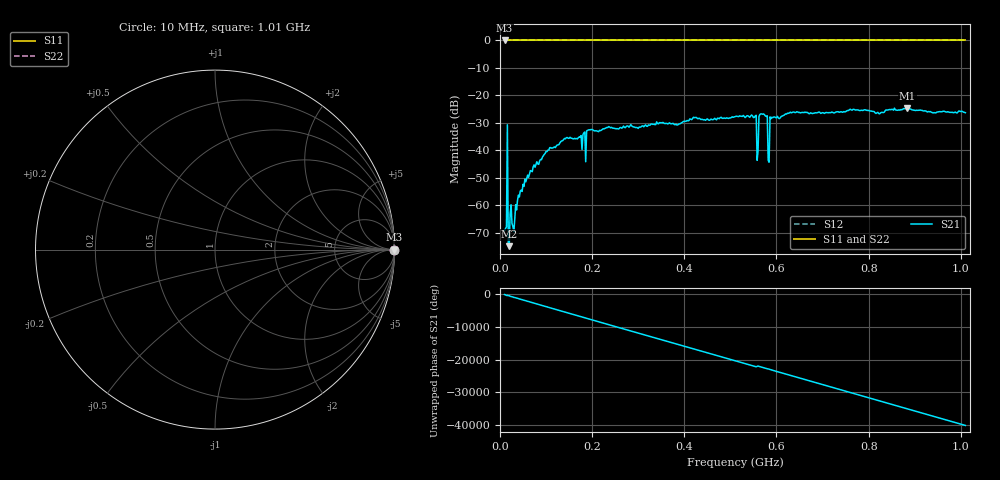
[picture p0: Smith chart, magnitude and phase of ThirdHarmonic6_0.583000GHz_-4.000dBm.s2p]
! 8/15/2025 6:50:36 PM
! C:\ANRITSUVNA\TEMP\TEMP.S2P
! CHANNEL.1
! TR.MEASUREMENT
! RAW.DATA
! RF.CORRECTION.OFF
! AVERAGING.OFF
! IF.BANDWIDTH: 5KHZ
! SWEEPTYPE:  FREQ.SWEEP(Linear)
! Reference Plane Port Info
! PORT:  PORT1  PORT2
! DISTANCE:  0  m  0  m
! TIME:  0  s  0  s
! PHASE.OFFSET:  0  deg.  0  deg.
! LOSS:  0  dB  0  dB
! REF.LOSS:  0  dB  0  dB
! REF.FREQ:  0  Hz  0  Hz
! Power Info
! POWER:  -20  dBm  -20  dBm
! EFF.POWER:  -20  dBm  -20  dBm
! SOURCE.ATTEN:  0  dB  0  dB
! TEST.ATTEN:  0  dB  0  dB
# GHZ S RI R 50.0
! FREQ.GHZ  S11RE  S11IM  S21RE  S21IM  S12RE  S12IM  S22RE  S22IM
!; PortSelection: Port_12
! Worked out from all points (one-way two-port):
!   501 points, 10 MHz to 1.01 GHz, reference 50 ohm
!   highest |S21| = -24.59 dB at 884 MHz (marker M1); lowest = -74.8 dB at 20 MHz (marker M2)
!   lowest |S11| = 0.0 dB at 10 MHz (marker M3)
!   |S11| at or under -10 dB: nowhere
!   |S22| runs from 0.0 to 0.0 dB; largest |S21 - S12| = 1.1
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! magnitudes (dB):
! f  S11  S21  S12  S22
! 10 MHz  0.0  -69.1  0.0  0.0
! 12 MHz  0.0  -68.4  0.0  0.0
! 20 MHz  0.0  -74.8  0.0  0.0
! 22 MHz  0.0  -63.0  0.0  0.0
! 42 MHz  0.0  -56.9  0.0  0.0
! 76 MHz  0.0  -46.1  0.0  0.0
! 142 MHz  0.0  -35.8  0.0  0.0
! 178 MHz  0.0  -39.7  0.0  0.0
! 344 MHz  0.0  -30.3  0.0  0.0
! 510 MHz  0.0  -27.7  0.0  0.0
! 552 MHz  0.0  -28.0  0.0  0.0
! 556 MHz  0.0  -27.2  0.0  0.0
! 562 MHz  0.0  -27.7  0.0  0.0
! 566 MHz  0.0  -26.7  0.0  0.0
! 576 MHz  0.0  -27.4  0.0  0.0
! 580 MHz  0.0  -27.4  0.0  0.0
! 586 MHz  0.0  -27.8  0.0  0.0
! 590 MHz  0.0  -27.9  0.0  0.0
! 678 MHz  0.0  -26.6  0.0  0.0
! 844 MHz  0.0  -25.1  0.0  0.0
! 884 MHz  0.0  -24.6  0.0  0.0
! 1.01 GHz  0.0  -26.3  0.0  0.0
